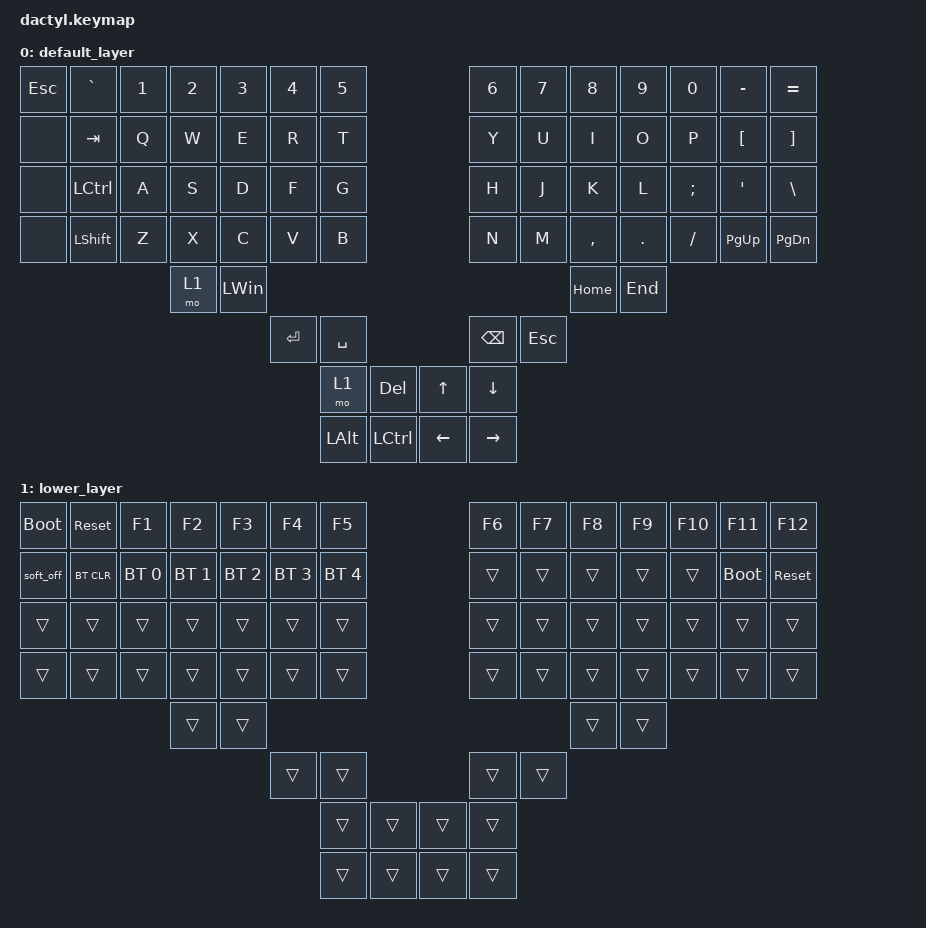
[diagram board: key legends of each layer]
#include <behaviors.dtsi>
#include <dt-bindings/zmk/bt.h>
#include <dt-bindings/zmk/keys.h>

#define DEFAULT 0
#define LWR 1
#define RSE 2
#define ADJ 3

/ {
    keymap {
        compatible = "zmk,keymap";

        default_layer {
            bindings = <
&kp ESC  &kp GRAVE       &kp N1  &kp N2  &kp N3        &kp N4     &kp N5                              &kp N6         &kp N7   &kp N8     &kp N9   &kp N0    &kp MINUS         &kp EQUAL
&none    &kp TAB         &kp Q   &kp W   &kp E         &kp R      &kp T                               &kp Y          &kp U    &kp I      &kp O    &kp P     &kp LEFT_BRACKET  &kp RIGHT_BRACKET
&none    &kp LCTRL       &kp A   &kp S   &kp D         &kp F      &kp G                               &kp H          &kp J    &kp K      &kp L    &kp SEMI  &kp SQT           &kp BACKSLASH
&none    &kp LEFT_SHIFT  &kp Z   &kp X   &kp C         &kp V      &kp B                               &kp N          &kp M    &kp COMMA  &kp DOT  &kp FSLH  &kp PAGE_UP       &kp PAGE_DOWN
                                 &mo 1   &kp LEFT_WIN                                                                         &kp HOME   &kp END
                                                       &kp ENTER  &kp SPACE                           &kp BACKSPACE  &kp ESC
                                                                  &mo 1         &kp DELETE  &kp UP    &kp DOWN
                                                                  &kp LEFT_ALT  &kp LCTRL   &kp LEFT  &kp RIGHT
            >;
        };

        lower_layer {
            bindings = <
&bootloader  &sys_reset  &kp F1        &kp F2        &kp F3        &kp F4        &kp F5                        &kp F6  &kp F7  &kp F8  &kp F9  &kp F10  &kp F11      &kp F12
&soft_off    &bt BT_CLR  &bt BT_SEL 0  &bt BT_SEL 1  &bt BT_SEL 2  &bt BT_SEL 3  &bt BT_SEL 4                  &trans  &trans  &trans  &trans  &trans   &bootloader  &sys_reset
&trans       &trans      &trans        &trans        &trans        &trans        &trans                        &trans  &trans  &trans  &trans  &trans   &trans       &trans
&trans       &trans      &trans        &trans        &trans        &trans        &trans                        &trans  &trans  &trans  &trans  &trans   &trans       &trans
                                       &trans        &trans                                                                    &trans  &trans
                                                                   &trans        &trans                        &trans  &trans
                                                                                 &trans        &trans  &trans  &trans
                                                                                 &trans        &trans  &trans  &trans
            >;
        };
    };
};
